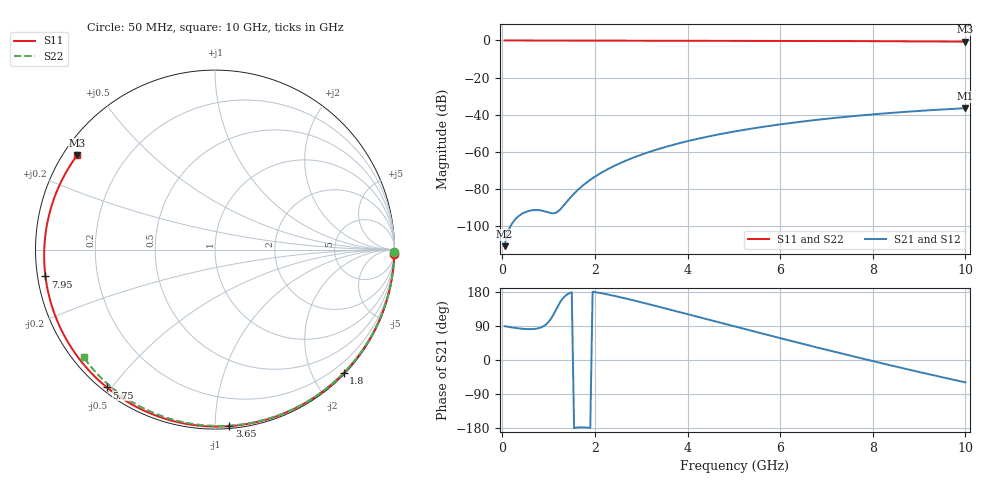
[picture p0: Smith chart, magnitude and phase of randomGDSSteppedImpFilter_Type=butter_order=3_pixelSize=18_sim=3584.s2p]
! freq	dB(S11)	phase(S11)	dB(S12)	phase(S12)
!  dB(S21)	phase(S21)	dB(S22)	phase(S22)
!S-par simulation data
#  GHz  S  DB  R 50
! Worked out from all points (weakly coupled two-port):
!   200 points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, 50 MHz to 10 GHz, reference 50 ohm
!   highest |S21| = -36.54 dB at 10 GHz (marker M1); lowest = -111.0 dB at 50 MHz (marker M2)
!   lowest |S11| = -0.6 dB at 10 GHz (marker M3), VSWR 27.79, Z = 1.97 + j15.5 ohm
!   |S11| at or under -10 dB: nowhere
!   |S22| runs from -0.5 to 0.0 dB; largest |S21 - S12| = 0
!   S11 on the Smith chart (normalised r, x): 50 MHz: 0, -91; 1.8 GHz: 0.02, -2.49; 3.65 GHz: 0.01, -1.08; 5.75 GHz: 0.02, -0.49; 7.95 GHz: 0.02, -0.08; 10 GHz: 0.04, +0.31
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0.05  -0.00 -1.3  -110.98 89.2  -110.98 89.2  -0.00 -0.8
0.4  -0.01 -9.9  -93.92 82.8  -93.92 82.8  -0.01 -6.5
0.8  -0.03 -19.8  -91.58 84.5  -91.58 84.5  -0.02 -12.9
1.2  -0.04 -29.5  -92.31 142.2  -92.31 142.2  -0.02 -19.3
1.65  -0.05 -40.3  -80.21 -177.9  -80.21 -177.9  -0.03 -26.5
1.75  -0.05 -42.7  -78.04 -177.8  -78.04 -177.8  -0.04 -28.0
1.8  -0.06 -43.8  -77.05 -178.1  -77.05 -178.1  -0.04 -28.8
2.1  -0.06 -50.9  -71.94 177.1  -71.94 177.1  -0.04 -33.5
2.5  -0.08 -60.0  -66.70 167.0  -66.70 167.0  -0.05 -39.7
2.9  -0.09 -69.0  -62.55 155.4  -62.55 155.4  -0.06 -45.8
3.4  -0.10 -80.0  -58.37 139.9  -58.37 139.9  -0.07 -53.3
3.65  -0.11 -85.4  -56.58 132.0  -56.58 132.0  -0.08 -57.0
4.35  -0.14 -100.1  -52.34 109.7  -52.34 109.7  -0.10 -67.2
5.05  -0.17 -114.3  -48.95 87.5  -48.95 87.5  -0.12 -77.1
5.75  -0.21 -128.1  -46.16 65.5  -46.16 65.5  -0.15 -86.7
6.7  -0.28 -146.5  -43.09 36.1  -43.09 36.1  -0.19 -99.3
7.35  -0.33 -159.2  -41.36 16.4  -41.36 16.4  -0.23 -107.7
7.95  -0.39 -171.0  -39.99 -1.4  -39.99 -1.4  -0.28 -115.3
8.35  -0.43 -179.1  -39.17 -13.1  -39.17 -13.1  -0.31 -120.3
8.8  -0.48 171.7  -38.35 -26.0  -38.35 -26.0  -0.35 -125.9
9.2  -0.53 163.2  -37.69 -37.2  -37.69 -37.2  -0.39 -130.8
10  -0.63 145.5  -36.54 -59.0  -36.54 -59.0  -0.48 -140.7
